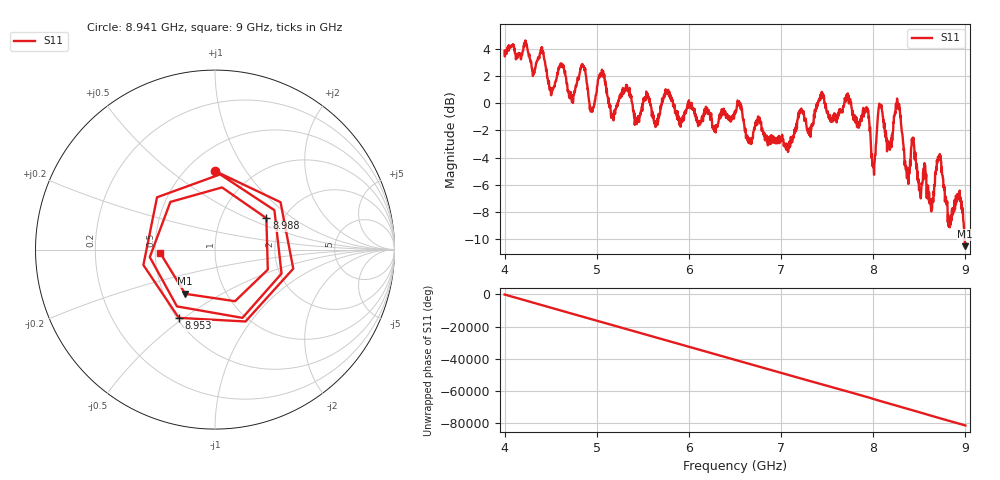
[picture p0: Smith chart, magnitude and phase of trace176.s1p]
! Created with skrf 1.8.0 (http://scikit-rf.org).
# Hz S RI R 50.0
!freq ReS11 ImS11
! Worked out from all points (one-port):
!   1601 points, 4 GHz to 9 GHz, reference 50 ohm
!   lowest |S11| = -10.5 dB at 8.997 GHz (marker M1), VSWR 1.85, Z = 32.1 - j17.3 ohm
!   |S11| at or under -10 dB: 8.990766 GHz to end of sweep
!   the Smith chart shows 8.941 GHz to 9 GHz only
!   S11 on the Smith chart (normalised r, x): 8.941 GHz: 0.68, +0.74; 8.953 GHz: 0.51, -0.48; 8.988 GHz: 1.64, +0.65; 9 GHz: 0.53, -0.02
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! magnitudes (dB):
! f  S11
! 4 GHz  3.8
! 4.406 GHz  4.1
! 4.509 GHz  0.7
! 4.625 GHz  2.9
! 4.725 GHz  0.5
! 4.856 GHz  2.7
! 4.944 GHz  -0.5
! 5.047 GHz  2.1
! 5.25 GHz  0.5
! 5.875 GHz  -0.6
! 6.5 GHz  -0.8
! 7.125 GHz  -2.5
! 7.75 GHz  0.3
! 7.931 GHz  -0.5
! 8 GHz  -4.7
! 8.072 GHz  -0.2
! 8.175 GHz  -3.2
! 8.269 GHz  0.0
! 8.375 GHz  -5.4
! 8.438 GHz  -2.6
! 8.628 GHz  -7.9
! 8.716 GHz  -4.0
! 8.825 GHz  -9.1
! 8.941 GHz  -7.2
! 8.953 GHz  -7.3
! 8.988 GHz  -9.5
! 8.997 GHz  -10.5
! 9 GHz  -10.3
